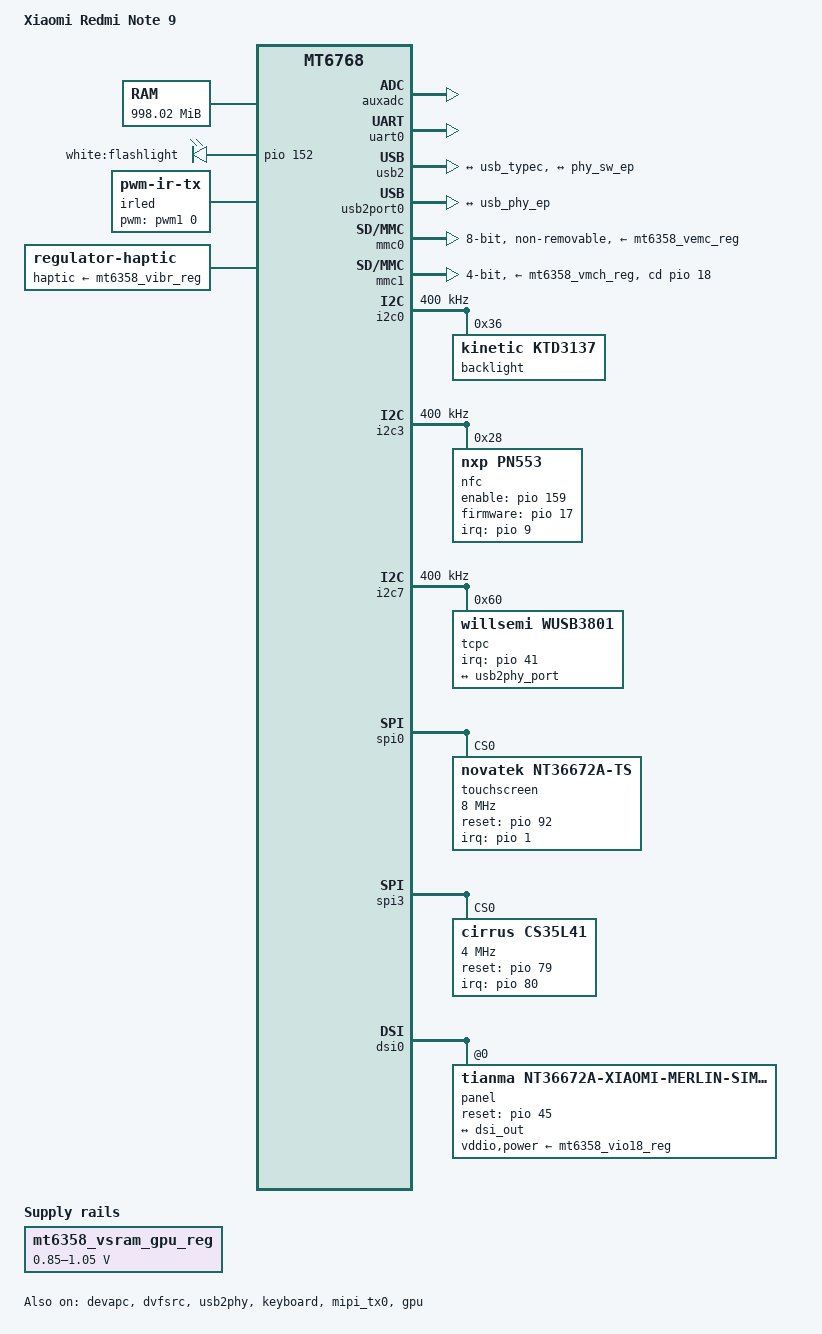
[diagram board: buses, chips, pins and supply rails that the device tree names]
// SPDX-License-Identifier: GPL-2.0-only
/*
 * Device Tree Source for Xiaomi Redmi Note 9
 */

/dts-v1/;

#include <dt-bindings/gpio/gpio.h>
#include <dt-bindings/leds/common.h>
#include <dt-bindings/iio/adc/mediatek,mt6370_adc.h>
#include <dt-bindings/usb/pd.h>
#include "mt6769z.dtsi"
#include "mt6358.dtsi"

/ {
	model = "Xiaomi Redmi Note 9";
	compatible = "xiaomi,merlin", "mediatek,mt6769z", "mediatek,mt6768";

	aliases {
		serial0 = &uart0;
	};

	chosen {
		stdout-path = &framebuffer0;
	};

	framebuffer0: framebuffer@7d9b0000 {
		//compatible = "simple-framebuffer";
		reg = <0x0 0x7d9b0000 0x0 0x2250000>;
		format = "a8r8g8b8";
		width = <1080>;
		stride = <((1080 + 8) * 4)>;
		height = <2340>;
	};

	memory@40000000 {
		device_type = "memory";
		reg = <0x0 0x40000000 0x0 0x3e605000>;
	};

	gpio-leds {
		compatible = "gpio-leds";
		pinctrl-names = "default";
		pinctrl-0 = <&flashlight_pins>;

		led {
			label = "white:flashlight";
			gpios = <&pio 152 GPIO_ACTIVE_HIGH>;
			default-state = "off";
		};
	};

	irled {
		compatible = "pwm-ir-tx";
		pwms = <&pwm1 0 1000000>;
		pinctrl-names = "default";
		pinctrl-0 = <&ir_pins>;
	};

	haptic {
		compatible = "regulator-haptic";
		haptic-supply = <&mt6358_vibr_reg>;
		min-microvolt = <1200000>;
		max-microvolt = <3300000>;
	};
};

&auxadc {
	status = "okay";
};

&thermal {
	status = "okay";
};

&devapc {
	status = "okay";
};

&dvfsrc {
	status = "okay";
};

&mt6358_vdram2_reg {
	regulator-always-on;
};

/* mt6358_vaud28_reg - audio */
/* mt6358_vbif28_reg - bluetooth? */

&mt6358_vio28_reg {
	regulator-always-on;
};

// I guess
&mt6358_vaux18_reg {
	regulator-always-on;
};

&pmic {
	interrupts-extended = <&pio 144 IRQ_TYPE_LEVEL_HIGH>;
};

&cci {
	proc-supply = <&mt6358_vproc12_reg>;
};

&cpu0 {
	proc-supply = <&mt6358_vproc12_reg>;
};

&cpu1 {
	proc-supply = <&mt6358_vproc12_reg>;
};

&cpu2 {
	proc-supply = <&mt6358_vproc12_reg>;
};

&cpu3 {
	proc-supply = <&mt6358_vproc12_reg>;
};

&cpu4 {
	proc-supply = <&mt6358_vproc12_reg>;
};

&cpu5 {
	proc-supply = <&mt6358_vproc12_reg>;
};

&cpu6 {
	proc-supply = <&mt6358_vproc11_reg>;
};

&cpu7 {
	proc-supply = <&mt6358_vproc11_reg>;
};

&uart0 {
	status = "okay";
};

&usb2 {
	status = "okay";

	// In fact this should be under usb2port0... or no?
	ports {
		#address-cells = <1>;
		#size-cells = <0>;

		port@0 {
			usb2phy_port: endpoint {
				remote-endpoint = <&usb_typec>;
			};
		};
		port@1 {
			usb_phy_ep: endpoint {
				remote-endpoint = <&phy_sw_ep>;
			};
		};
	};
};

&usb2port0 {
	mediatek,software-role-switch;

	port {
		phy_sw_ep: endpoint {
			remote-endpoint = <&usb_phy_ep>;
		};
	};
};

&usb2phy {
	status = "okay";
};

&keyboard {
	status = "okay";
	pinctrl-names = "default";
	pinctrl-0 = <&keyboard_pins>;
	linux,keymap = <MATRIX_KEY(0x00, 0x00, KEY_VOLUMEDOWN)>;
	keypad,num-rows = <1>;
	keypad,num-columns = <1>;
	debounce-delay-ms = <32>;
};

&mipi_tx0 {
	status = "okay";
};

&mmc0 {
	status = "okay";
	pinctrl-names = "default", "state_uhs";
	pinctrl-0 = <&mmc0_default_pins>;
	pinctrl-1 = <&mmc0_default_pins>;
	bus-width = <8>;
	max-frequency = <200000000>;
	cap-mmc-highspeed;
	mmc-ddr-1_8v;
	mmc-hs200-1_8v;
	mmc-hs400-1_8v;
	cap-mmc-hw-reset;
	no-sdio;
	no-sd;
	non-removable;
	supports-cqe;
	cap-mmc-hw-reset;
	hs400-ds-delay = <0x12814>;
	vmmc-supply = <&mt6358_vemc_reg>;
	vqmmc-supply = <&mt6358_vio18_reg>;
};

&mmc1 {
	status = "okay";
	pinctrl-names = "default", "state_uhs";
	pinctrl-0 = <&mmc1_default_pins>;
	pinctrl-1 = <&mmc1_uhs_pins>;
	bus-width = <4>;
	max-frequency = <200000000>;
	cap-sd-highspeed;
	sd-uhs-sdr12;
	sd-uhs-sdr25;
	sd-uhs-sdr50;
	sd-uhs-sdr104;
	sd-uhs-ddr50;
	no-mmc;
	no-sdio;
	cd-gpios = <&pio 18 GPIO_ACTIVE_HIGH>;
	vmmc-supply = <&mt6358_vmch_reg>;
	vqmmc-supply = <&mt6358_vmc_reg>;
};

&gpu {
	status = "okay";
	mali-supply = <&mt6358_vgpu_reg>;
};

&mt6358_vgpu_reg {
	regulator-max-microvolt = <950000>;
	regulator-always-on;
	regulator-boot-on;

	regulator-coupled-with = <&mt6358_vsram_gpu_reg>;
	regulator-coupled-max-spread = <100000>;
};

&mt6358_vsram_gpu_reg {
	regulator-min-microvolt = <850000>;
	regulator-max-microvolt = <1050000>;
	regulator-always-on;
	regulator-boot-on;

	regulator-coupled-with = <&mt6358_vgpu_reg>;
	regulator-coupled-max-spread = <100000>;
};

&mfg_async {
	domain-supply = <&mt6358_vsram_gpu_reg>;
};

&mfg {
	domain-supply = <&mt6358_vgpu_reg>;
};

&i2c0 {
	status = "okay";
	#address-cells = <1>;
	#size-cells = <0>;
	clock-frequency = <400000>;

	backlight: backlight@36 {
		compatible = "kinetic,ktd3137";
		reg = <0x36>;
		kinetic,linear;
		kinetic,led-current = <0x98>;
	};
};

&i2c3 {
	status = "okay";
	#address-cells = <1>;
	#size-cells = <0>;
	clock-frequency = <400000>;

	nfc@28 {
		compatible = "nxp,pn553", "nxp,nxp-nci-i2c";
		reg = <0x28>;

		interrupt-parent = <&pio>;
		interrupts = <9 IRQ_TYPE_LEVEL_HIGH>;

		enable-gpios = <&pio 159 GPIO_ACTIVE_HIGH>;
		firmware-gpios = <&pio 17 GPIO_ACTIVE_HIGH>;
        };
};

&i2c7 {
	status = "okay";
	#address-cells = <1>;
	#size-cells = <0>;
	clock-frequency = <400000>;

	tcpc@60 {
		compatible = "willsemi,wusb3801";
		reg = <0x60>;
		interrupt-parent = <&pio>;
		interrupts = <41 IRQ_TYPE_LEVEL_LOW>;

		connector {
			compatible = "usb-c-connector";
			label = "USB-C";
			power-role = "dual";
			try-power-role = "sink";
			data-role = "dual";
			typec-power-opmode = "3.0A";
			pd-disable;

			ports {
				#address-cells = <1>;
				#size-cells = <0>;

				port@0 {
					reg = <0x00>;

					usb_typec: endpoint {
						remote-endpoint = <&usb2phy_port>;
					};
				};
			};
		};
	};
};

&spi0 {
	status = "okay";
	#address-cells = <1>;
	#size-cells = <0>;
	mediatek,pad-select = <0>;

	touchscreen@0 {
		compatible = "novatek,nt36672a-ts";
		reg = <0>;

		firmware-name = "ts.bin";

		interrupts-extended = <&pio 1 IRQ_TYPE_EDGE_RISING>;
		reset-gpios = <&pio 92 GPIO_ACTIVE_HIGH>;
		panel = <&panel>;

		spi-cs-setup-delay-ns = <20>;
		spi-max-frequency = <8000000>;
	};
};

&spi3 {
	status = "okay";
	#address-cells = <1>;
	#size-cells = <0>;
	mediatek,pad-select = <0>;

	cs35l41: speaker-amp@0 {
		#sound-dai-cells = <1>;
		compatible = "cirrus,cs35l41";
		reg = <0>;
		spi-max-frequency = <4000000>;
		interrupt-parent = <&pio>;
		interrupts = <80 IRQ_TYPE_LEVEL_LOW>;
		reset-gpios = <&pio 79 GPIO_ACTIVE_HIGH>;

		cirrus,boost-peak-milliamp = <4500>;
		cirrus,boost-ind-nanohenry = <1000>;
		cirrus,boost-cap-microfarad = <15>;
		cirrus,gpio2-src-select = <4>;
		cirrus,gpio2-output-enable;
        };
};

&dsi0 {
	status = "okay";
	#address-cells = <1>;
	#size-cells = <0>;

	panel: panel@0 {
            compatible = /*"tianma,fhd-video", "novatek,nt36672a", */"tianma,nt36672a-xiaomi-merlin-simple";
            reg = <0>;
            vddio-supply = <&mt6358_vio18_reg>;
	power-supply = <&mt6358_vio18_reg>;

            //backlight = <&backlight>;
            reset-gpios = <&pio 45 GPIO_ACTIVE_HIGH>;

            port {
                tianma_nt36672a_in_0: endpoint {
                    remote-endpoint = <&dsi_out>;
                };
            };		
	};
};

&dsi_out {
	remote-endpoint = <&tianma_nt36672a_in_0>;
};

&pio {
	keyboard_pins: keyboard-pins {
		pins {
			pinmux = <PINMUX_GPIO92__FUNC_KPROW0>,
				 <PINMUX_GPIO93__FUNC_KPCOL0>;
		};
	};

	mmc0_default_pins: mmc0-default-pins {
		pins-clk {
			pinmux = <PINMUX_GPIO124__FUNC_MSDC0_CLK>;
			drive-strength = <MTK_DRIVE_4mA>;
			bias-pull-down = <MTK_PUPD_SET_R1R0_10>;
		};

		pins-cmd-dat {
			pinmux = <PINMUX_GPIO123__FUNC_MSDC0_DAT0>,
				 <PINMUX_GPIO128__FUNC_MSDC0_DAT1>,
				 <PINMUX_GPIO125__FUNC_MSDC0_DAT2>,
				 <PINMUX_GPIO132__FUNC_MSDC0_DAT3>,
				 <PINMUX_GPIO126__FUNC_MSDC0_DAT4>,
				 <PINMUX_GPIO129__FUNC_MSDC0_DAT5>,
				 <PINMUX_GPIO127__FUNC_MSDC0_DAT6>,
				 <PINMUX_GPIO130__FUNC_MSDC0_DAT7>,
				 <PINMUX_GPIO122__FUNC_MSDC0_CMD>;
			input-enable;
			drive-strength = <MTK_DRIVE_4mA>;
			bias-pull-up = <MTK_PUPD_SET_R1R0_01>;
		};

		pins_ds {
			pinmux = <PINMUX_GPIO131__FUNC_MSDC0_DSL>;
			drive-strength = <MTK_DRIVE_4mA>;
		};

		pins-rst {
			pinmux = <PINMUX_GPIO133__FUNC_MSDC0_RSTB>;
			drive-strength = <MTK_DRIVE_6mA>;
			bias-pull-up = <MTK_PUPD_SET_R1R0_01>;
		};
	};

	mmc0_uhs_pins: mmc0-uhs-pins {
		pins-clk {
			pinmux = <PINMUX_GPIO124__FUNC_MSDC0_CLK>;
			drive-strength = <MTK_DRIVE_8mA>;
			bias-pull-down = <MTK_PUPD_SET_R1R0_10>;
		};

		pins-cmd-dat {
			pinmux = <PINMUX_GPIO123__FUNC_MSDC0_DAT0>,
				 <PINMUX_GPIO122__FUNC_MSDC0_CMD>;
			input-enable;
			drive-strength = <MTK_DRIVE_8mA>;
			bias-pull-up = <MTK_PUPD_SET_R1R0_01>;
		};

		pins-ds {
			pinmux = <PINMUX_GPIO131__FUNC_MSDC0_DSL>;
			drive-strength = <MTK_DRIVE_8mA>;
			bias-pull-down = <MTK_PUPD_SET_R1R0_10>;
		};

		pins-rst {
			pinmux = <PINMUX_GPIO133__FUNC_MSDC0_RSTB>;
			drive-strength = <MTK_DRIVE_8mA>;
			bias-pull-up = <MTK_PUPD_SET_R1R0_01>;
		};
	};

	mmc1_default_pins: mmc1-default-pins {
		pins-cmd-dat {
		pinmux = <PINMUX_GPIO164__FUNC_MSDC1_DAT0>,
				 <PINMUX_GPIO163__FUNC_MSDC1_DAT1>,
				 <PINMUX_GPIO162__FUNC_MSDC1_DAT2>,
				 <PINMUX_GPIO161__FUNC_MSDC1_DAT3>,
				 <PINMUX_GPIO170__FUNC_MSDC1_CMD>;
			input-enable;
			drive-strength = <MTK_DRIVE_4mA>;
			bias-pull-up = <MTK_PUPD_SET_R1R0_01>;
		};

		pins-clk {
			pinmux = <PINMUX_GPIO171__FUNC_MSDC1_CLK>;
			drive-strength = <MTK_DRIVE_4mA>;
			bias-pull-down = <MTK_PUPD_SET_R1R0_10>;
		};

		pins-insert {
			pinmux = <PINMUX_GPIO18__FUNC_GPIO18>;
			bias-pull-up;
		};
	};

	mmc1_uhs_pins: mmc1-uhs-pins {
		pins-cmd-dat {
			pinmux = <PINMUX_GPIO164__FUNC_MSDC1_DAT0>,
				 <PINMUX_GPIO163__FUNC_MSDC1_DAT1>,
				 <PINMUX_GPIO162__FUNC_MSDC1_DAT2>,
				 <PINMUX_GPIO161__FUNC_MSDC1_DAT3>,
				 <PINMUX_GPIO170__FUNC_MSDC1_CMD>;
			input-enable;
			drive-strength = <MTK_DRIVE_4mA>;
			bias-pull-up = <MTK_PUPD_SET_R1R0_01>;
		};

		pins-clk {
			pinmux = <PINMUX_GPIO171__FUNC_MSDC1_CLK>;
			drive-strength = <MTK_DRIVE_4mA>;
		};
	};

	flashlight_pins: flashlight-pins {
		pins-cmd-dat {
			pinmux = <PINMUX_GPIO152__FUNC_GPIO152>;
			output-low;
		};

		pins-cmd-sel {
			pinmux = <PINMUX_GPIO153__FUNC_GPIO153>;
			output-low;
		};
	};

	ir_pins: ir-pins {
		pins-enable {
			pinmux = <PINMUX_GPIO12__FUNC_PWM0>;
			output-low;
		};
	};
};
